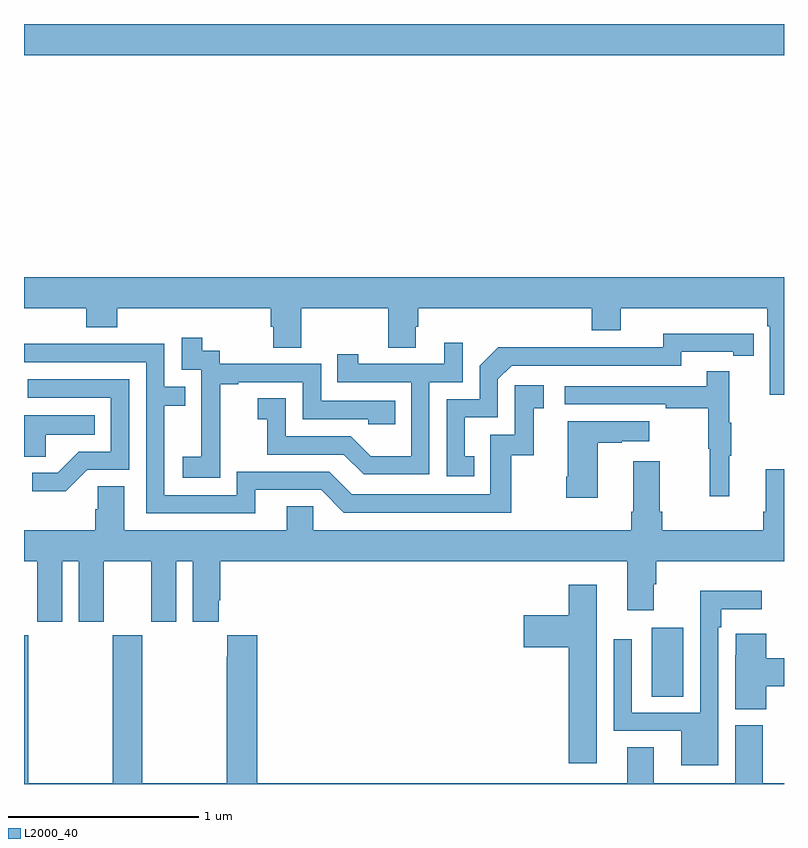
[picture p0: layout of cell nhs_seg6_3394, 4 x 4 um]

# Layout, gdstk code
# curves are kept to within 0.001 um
import gdstk
lib = gdstk.Library(unit=1e-6, precision=1e-09)
def R(c, l, rs):  # rectangles x0, y0, x1, y1
    for r in rs: c.add(gdstk.rectangle(r[:2], r[2:], *l))
def P(c, l, *ps):  # polygons
    for p in ps: c.add(gdstk.Polygon(p, *l))
L2000_40 = (2000, 40)

nhs_seg6_3394 = lib.new_cell('nhs_seg6_3394')
R(nhs_seg6_3394, L2000_40, [(314.303,943.96,314.47,944.323), (311,947.336,315,947.5)])
P(nhs_seg6_3394, L2000_40, [(315,946.168),(311,946.168),(311,946.004),(311.327,946.004),(311.327,945.905),(311.492,945.905),(311.492,946.004),(312.299,946.004),(312.299,945.906),(312.311,945.906),(312.311,945.796),(312.459,945.796),(312.459,946.004),(312.916,946.004),(312.916,945.796),(313.063,945.796),(313.063,945.906),(313.076,945.906),(313.076,946.004),(313.988,946.004),(313.988,945.887),(314.14,945.887),(314.14,946.004),(314.912,946.004),(314.912,945.908),(314.925,945.908),(314.925,945.549),(315,945.549)],
  [(313.37,945.225),(313.321,945.225),(313.321,945.429),(313.494,945.429),(313.494,945.63),(313.566,945.702),(314.46,945.702),(314.46,945.774),(314.732,945.774),(314.732,945.754),(314.84,945.754),(314.84,945.87),(314.364,945.871),(314.364,945.798),(313.904,945.798),(313.904,945.8),(313.496,945.8),(313.398,945.702),(313.398,945.525),(313.224,945.525),(313.224,945.12),(313.37,945.12)],
  [(312.033,945.319),(312.032,945.319),(312.032,945.603),(312.127,945.603),(312.127,945.615),(312.468,945.615),(312.468,945.42),(312.813,945.42),(312.813,945.393),(312.953,945.393),(312.953,945.516),(312.564,945.516),(312.564,945.711),(312.03,945.711),(312.03,945.78),(311.938,945.78),(311.938,945.85),(311.829,945.85),(311.829,945.681),(311.934,945.681),(311.934,945.452),(311.933,945.452),(311.933,945.223),(311.835,945.223),(311.835,945.113),(312.033,945.113)],
  [(313.134,945.615),(313.308,945.615),(313.308,945.823),(313.211,945.823),(313.211,945.711),(312.76,945.711),(312.76,945.763),(312.649,945.763),(312.649,945.615),(313.038,945.615),(313.038,945.226),(312.824,945.226),(312.72,945.33),(312.378,945.33),(312.378,945.529),(312.231,945.529),(312.231,945.419),(312.28,945.419),(312.28,945.234),(312.683,945.234),(312.788,945.129),(313.134,945.129)],
  [(312.217,945.048),(312.564,945.048),(312.684,944.928),(313.564,944.928),(313.564,945.231),(313.682,945.231),(313.682,945.477),(313.735,945.477),(313.735,945.598),(313.584,945.598),(313.584,945.339),(313.455,945.339),(313.455,945.024),(312.726,945.024),(312.606,945.144),(312.12,945.144),(312.12,945.021),(311.739,945.021),(311.739,945.49),(311.849,945.49),(311.849,945.591),(311.739,945.591),(311.739,945.816),(311.243,945.816),(311.243,945.818),(311,945.818),(311,945.72),(311.643,945.72),(311.643,944.925),(312.217,944.925)],
  [(314.711,945.227),(314.722,945.227),(314.722,945.401),(314.711,945.401),(314.711,945.673),(314.593,945.673),(314.593,945.594),(313.845,945.594),(313.845,945.498),(314.377,945.498),(314.377,945.478),(314.601,945.478),(314.601,945.264),(314.608,945.264),(314.608,945.015),(314.711,945.015)],
  [(311.334,945.153),(311.553,945.153),(311.553,945.63),(311.019,945.63),(311.019,945.534),(311.457,945.534),(311.457,945.249),(311.288,945.249),(311.177,945.138),(311.043,945.138),(311.043,945.041),(311.221,945.041)],
  [(311.115,945.338),(311.372,945.338),(311.372,945.442),(311,945.442),(311,945.223),(311.115,945.223)],
  [(314.02,945.295),(314.147,945.295),(314.147,945.305),(314.29,945.305),(314.29,945.409),(313.862,945.409),(313.862,945.118),(313.855,945.118),(313.855,945.006),(314.02,945.006)],
  [(314.207,944.932),(314.195,944.932),(314.195,944.836),(312.522,944.836),(312.522,944.963),(312.383,944.963),(312.383,944.836),(311.527,944.836),(311.527,945.068),(311.388,945.068),(311.388,944.945),(311.375,944.945),(311.375,944.836),(311,944.836),(311,944.672),(311.069,944.672),(311.069,944.355),(311.2,944.355),(311.2,944.672),(311.288,944.672),(311.288,944.355),(311.419,944.355),(311.419,944.672),(311.669,944.672),(311.669,944.355),(311.8,944.355),(311.8,944.672),(311.888,944.672),(311.888,944.355),(312.025,944.355),(312.025,944.467),(312.032,944.467),(312.032,944.672),(314.174,944.672),(314.174,944.415),(314.314,944.415),(314.314,944.552),(314.327,944.552),(314.327,944.672),(315,944.672),(315,945.157),(314.903,945.157),(314.903,944.932),(314.891,944.932),(314.891,944.836),(314.36,944.836),(314.36,944.932),(314.347,944.932),(314.347,945.199),(314.207,945.199)],
  [(314.014,944.548),(313.868,944.548),(313.868,944.389),(313.629,944.389),(313.629,944.219),(313.868,944.219),(313.868,943.608),(314.014,943.608)],
  [(314.655,944.324),(314.671,944.324),(314.671,944.42),(314.884,944.42),(314.884,944.518),(314.559,944.518),(314.559,943.875),(314.199,943.875),(314.199,944.263),(314.103,944.263),(314.103,943.779),(314.459,943.779),(314.459,943.598),(314.655,943.598)],
  [(314.906,944.015),(315,944.015),(315,944.162),(314.906,944.162),(314.906,944.29),(314.745,944.29),(314.745,944.177),(314.744,944.177),(314.744,943.894),(314.906,943.894)],
  [(315,943.504),(314.888,943.504),(314.888,943.809),(314.744,943.809),(314.744,943.504),(314.314,943.504),(314.314,943.694),(314.174,943.694),(314.174,943.504),(312.227,943.504),(312.227,944.284),(312.071,944.284),(312.071,944.171),(312.067,944.171),(312.067,943.504),(311.622,943.504),(311.622,944.284),(311.467,944.284),(311.467,943.504),(311.022,943.504),(311.022,944.284),(311,944.284),(311,943.5),(315,943.5)])

lib.write_gds('nhs_seg6_3394.gds')
